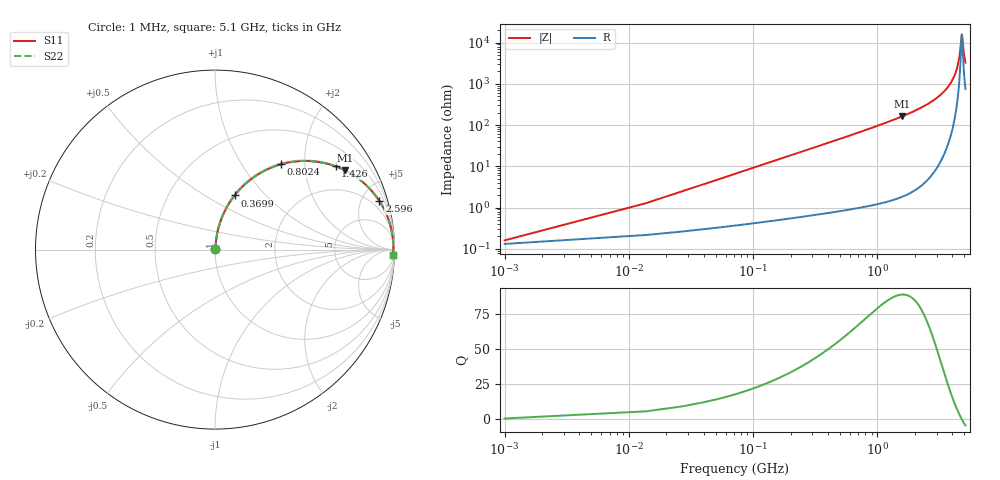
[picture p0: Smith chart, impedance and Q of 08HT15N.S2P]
! Coilcraft 0805HT-15N Chip Inductor
! 24 June 2002
# MHZ S MA R 50
!Freq  MagS11  AngS11  MagS21  AngS21  MagS12  AngS12  MagS22  AngS22
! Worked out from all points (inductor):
!   402 points, 1 MHz to 5.1 GHz, reference 50 ohm
!   read as one part in series: L = 14.6 nH near 26.44 MHz
!   highest Q = 89.2 at 1.578 GHz (marker M1), where L = 16.4 nH
!   self-resonance near 4.771 GHz
!   S11 on the Smith chart (normalised r, x): 1 MHz: 1.00, +0.00; 369.9 MHz: 1.01, +0.68; 802.4 MHz: 1.02, +1.51; 1.426 GHz: 1.03, +2.87; 2.596 GHz: 1.10, +6.76; 5.1 GHz: 16, -64
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1  0.0016 34.9  0.9987 -0.1  0.9987 -0.1  0.0016 34.9
39.16  0.03592 83.2  0.9964 -2.1  0.9964 -2.1  0.03592 83.2
64.6  0.05906 83.2  0.9948 -3.4  0.9948 -3.4  0.05906 83.2
90.04  0.08212 82.5  0.9927 -4.7  0.9927 -4.7  0.08212 82.5
191.8  0.1727 78.3  0.9797 -9.9  0.9797 -9.9  0.1727 78.3
369.88  0.3211 70.1  0.9404 -18.7  0.9404 -18.7  0.3211 70.1
560.68  0.4593 61.7  0.8807 -27.3  0.8807 -27.3  0.4593 61.7
802.36  0.5998 52.4  0.7919 -36.9  0.7919 -36.9  0.5998 52.4
853.24  0.6246 50.6  0.7725 -38.7  0.7725 -38.7  0.6246 50.6
1425.64  0.8162 34.6  0.5685 -54.7  0.5685 -54.7  0.8162 34.6
1578.28  0.8475 31.4  0.5214 -57.9  0.5214 -57.9  0.8475 31.4
1705.48  0.8692 29.0  0.4848 -60.4  0.4848 -60.4  0.8692 29.0
2557.72  0.9529 16.8  0.2898 -72.3  0.2898 -72.3  0.9529 16.8
2595.88  0.955 16.4  0.2827 -72.7  0.2827 -72.7  0.955 16.4
3409.96  0.9835 8.9  0.1544 -79.5  0.1544 -79.5  0.9835 8.9
3906.04  0.9908 5.3  0.0919 -81.6  0.0919 -81.6  0.9908 5.3
4262.2  0.9932 3.0  0.05224 -81.0  0.05224 -81.0  0.9932 3.0
4542.04  0.9938 1.3  0.0238 -74.4  0.0238 -74.4  0.9938 1.3
4771  0.9937 0.0  0.006327 -6.9  0.006327 -6.9  0.9937 0.0
4809.16  0.9936 -0.2  0.006956 24.0  0.006956 24.0  0.9936 -0.2
4974.52  0.9932 -1.0  0.01934 68.8  0.01934 68.8  0.9932 -1.0
5100  0.9927 -1.7  0.03023 75.1  0.03023 75.1  0.9927 -1.7
